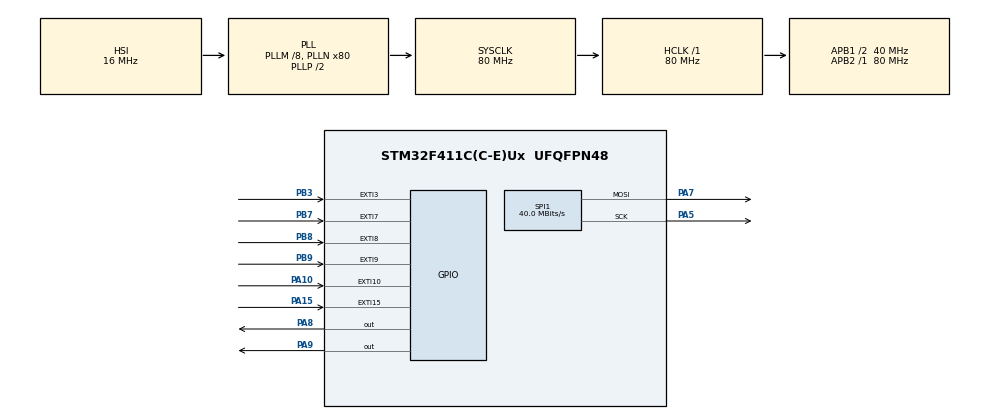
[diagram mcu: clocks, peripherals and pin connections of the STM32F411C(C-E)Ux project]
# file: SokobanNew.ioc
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Dma.Request0=SPI1_TX
Dma.SPI1_TX.0.Direction=DMA_MEMORY_TO_PERIPH
Dma.SPI1_TX.0.FIFOMode=DMA_FIFOMODE_DISABLE
Dma.SPI1_TX.0.Instance=DMA2_Stream3
Dma.SPI1_TX.0.MemDataAlignment=DMA_MDATAALIGN_BYTE
Dma.SPI1_TX.0.MemInc=DMA_MINC_ENABLE
Dma.SPI1_TX.0.Mode=DMA_NORMAL
Dma.SPI1_TX.0.PeriphDataAlignment=DMA_PDATAALIGN_BYTE
Dma.SPI1_TX.0.PeriphInc=DMA_PINC_DISABLE
Dma.SPI1_TX.0.Priority=DMA_PRIORITY_LOW
Mcu.Family=STM32F4
Mcu.Name=STM32F411C(C-E)Ux
Mcu.Package=UFQFPN48
NVIC.DMA2_Stream3_IRQn=true\:0\:0\:false\:false\:true\:false\:true\:true
NVIC.PriorityGroup=NVIC_PRIORITYGROUP_4
PA10.GPIO_ModeDefaultEXTI=GPIO_MODE_IT_FALLING
PA10.GPIO_PuPd=GPIO_PULLUP
PA10.Signal=GPXTI10
PA13.Mode=Serial_Wire
PA13.Signal=SYS_JTMS-SWDIO
PA14.Mode=Serial_Wire
PA14.Signal=SYS_JTCK-SWCLK
PA15.GPIO_ModeDefaultEXTI=GPIO_MODE_IT_FALLING
PA15.GPIO_PuPd=GPIO_PULLUP
PA15.Signal=GPXTI15
PA5.Mode=TX_Only_Simplex_Unidirect_Master
PA5.Signal=SPI1_SCK
PA7.Mode=TX_Only_Simplex_Unidirect_Master
PA7.Signal=SPI1_MOSI
PA8.GPIO_Speed=GPIO_SPEED_FREQ_HIGH
PA8.PinState=GPIO_PIN_SET
PA8.Signal=GPIO_Output
PA9.GPIO_Speed=GPIO_SPEED_FREQ_HIGH
PA9.Signal=GPIO_Output
PB3.GPIO_ModeDefaultEXTI=GPIO_MODE_IT_FALLING
PB3.GPIO_PuPd=GPIO_PULLUP
PB3.Signal=GPXTI3
PB7.GPIO_ModeDefaultEXTI=GPIO_MODE_IT_FALLING
PB7.GPIO_PuPd=GPIO_PULLUP
PB7.Signal=GPXTI7
PB8.GPIO_ModeDefaultEXTI=GPIO_MODE_IT_FALLING
PB8.GPIO_PuPd=GPIO_PULLUP
PB8.Signal=GPXTI8
PB9.GPIO_ModeDefaultEXTI=GPIO_MODE_IT_FALLING
PB9.GPIO_PuPd=GPIO_PULLUP
PB9.Signal=GPXTI9
ProjectManager.HeapSize=0x200
ProjectManager.StackSize=0x400
ProjectManager.TargetToolchain=STM32CubeIDE
RCC.48MHZClocksFreq_Value=40000000
RCC.AHBFreq_Value=80000000
RCC.APB1CLKDivider=RCC_HCLK_DIV2
RCC.APB1Freq_Value=40000000
RCC.APB1TimFreq_Value=80000000
RCC.APB2Freq_Value=80000000
RCC.APB2TimFreq_Value=80000000
RCC.CortexFreq_Value=80000000
RCC.HCLKFreq_Value=80000000
RCC.HSE_VALUE=25000000
RCC.HSI_VALUE=16000000
RCC.LSE_VALUE=32768
RCC.PLLM=8
RCC.PLLN=80
RCC.SYSCLKFreq_VALUE=80000000
RCC.SYSCLKSource=RCC_SYSCLKSOURCE_PLLCLK
RCC.VCOOutputFreq_Value=160000000
SPI1.BaudRatePrescaler=SPI_BAUDRATEPRESCALER_2
SPI1.CLKPhase=SPI_PHASE_2EDGE
SPI1.CLKPolarity=SPI_POLARITY_HIGH
SPI1.CalculateBaudRate=40.0 MBits/s
SPI1.Direction=SPI_DIRECTION_2LINES
SPI1.Mode=SPI_MODE_MASTER
SPI1.VirtualType=VM_MASTER
board=custom

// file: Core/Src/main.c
/* USER CODE BEGIN Header */
/**
  ******************************************************************************
  * @file           : main.c
  * @brief          : Main program body for the Sokoban game.
  *
  * Initialises all MCU peripherals (SPI1, DMA, GPIO), starts the ST7789 display
  * driver and the DWT cycle-counter timer, then runs the main game loop.
  * The loop dispatches input events (set by GPIO EXTI callbacks) and drives the
  * game state machine: Title → Playing → Level Won / Game Won → Title.
  ******************************************************************************
  * @attention
  *
  * Copyright (c) 2026 STMicroelectronics.
  * All rights reserved.
  *
  * This software is licensed under terms that can be found in the LICENSE file
  * in the root directory of this software component.
  * If no LICENSE file comes with this software, it is provided AS-IS.
  *
  ******************************************************************************
  */
/* USER CODE END Header */
#include "main.h"

/* USER CODE BEGIN Includes */

#include "st7789.h"

#include "levels.h"
#include "renderer.h"
#include "box.h"

/* USER CODE END Includes */

SPI_HandleTypeDef hspi1;
DMA_HandleTypeDef hdma_spi1_tx;

void SystemClock_Config(void);
static void MX_GPIO_Init(void);
static void MX_DMA_Init(void);
static void MX_SPI1_Init(void);

/* USER CODE BEGIN 0 */

/**
 * @brief Initialises the DWT cycle counter for microsecond timing.
 *
 * Enables the trace macrocell (TRCENA), resets the cycle count register, and
 * starts the cycle counter.  Must be called once before GetDeltaTime().
 */
void DWT_Init(void) {
    CoreDebug->DEMCR |= CoreDebug_DEMCR_TRCENA_Msk; /* Enable trace */
    DWT->CYCCNT = 0;
    DWT->CTRL |= DWT_CTRL_CYCCNTENA_Msk;            /* Start counter */
}

/**
 * @brief Returns the elapsed time in microseconds since the last call.
 *
 * Uses the DWT cycle counter to measure elapsed CPU cycles and converts them
 * to microseconds using @c SystemCoreClock.  Sub-microsecond cycles are
 * accumulated in a static remainder to avoid drift over time.
 *
 * @return Elapsed time in microseconds since the previous call, or 0 on the
 *         first call (used to prime the lastCycle baseline).
 */
uint32_t GetDeltaTime(void) {
    static uint32_t lastCycle = 0;
    static uint32_t remainder = 0;
    uint32_t now = DWT->CYCCNT;
    uint32_t elapsed = now - lastCycle;
    lastCycle = now;

    /* Convert cycles to microseconds, preserving the sub-µs remainder */
    uint32_t totalCycles = elapsed + remainder;
    uint32_t cyclesPerUs = SystemCoreClock / 1000000U;
    if (cyclesPerUs == 0) return 0;

    uint32_t us = totalCycles / cyclesPerUs;
    remainder = totalCycles - (us * cyclesPerUs);
    return us;
}

#include "player.h"
#include <stdbool.h>

/** @brief Pool of box entities shared across all levels. */
static Box    boxes[BOX_MAX];

/** @brief The player entity. */
static Player player;

/**
 * @brief Top-level game state machine states.
 */
typedef enum {
    STATE_TITLE,      /**< Title screen is displayed; waiting for the OK button. */
    STATE_PLAYING,    /**< A level is active and the player can move. */
    STATE_LEVEL_WON,  /**< Current level is complete; waiting to advance. */
    STATE_GAME_WON    /**< All levels finished; game-complete screen is shown. */
} GameState;

/** @brief Current state of the game state machine. */
static GameState gameState = STATE_TITLE;

/** @brief Zero-based index of the level currently loaded or to be loaded next. */
static uint8_t currentLevelIdx = 0;

/**
 * @brief Set to @c true by the OK-button EXTI callback to request a start/advance action.
 *
 * Consumed and cleared at the top of the main loop to avoid missed events.
 */
volatile bool requestStart = false;

/**
 * @brief Set to @c true by the Back-button EXTI callback to return to the title screen.
 *
 * Takes priority over @c requestStart when both are set simultaneously.
 */
volatile bool requestTitle = false;

/* USER CODE END 0 */

int main(void)
{

  /* MCU Configuration--------------------------------------------------------*/

  /* Reset of all peripherals, Initializes the Flash interface and the Systick. */
  HAL_Init();

  /* Configure the system clock */
  SystemClock_Config();

  /* Initialize all configured peripherals */
  MX_GPIO_Init();
  MX_DMA_Init();
  MX_SPI1_Init();
  /* USER CODE BEGIN 2 */

  DWT_Init();
  ST7789_Init();

  /* USER CODE END 2 */

  /* Infinite loop */
  /* USER CODE BEGIN WHILE */

  Renderer_DrawTitleScreen();
  gameState = STATE_TITLE;

  GetDeltaTime();
  static uint32_t acc_us = 0;
  static bool levelWon = false;

  while (1) {
    /* USER CODE END WHILE */
    uint32_t dt = GetDeltaTime();
    acc_us += dt;

    if (requestTitle) {
        requestTitle = false;
        requestStart = false; // prioritize title
        gameState = STATE_TITLE;
        Renderer_DrawTitleScreen();
    }

    if (requestStart) {
        requestStart = false;
        if (gameState == STATE_TITLE) {
            Level_Load(currentLevelIdx, &player, boxes, BOX_MAX);
            gameState = STATE_PLAYING;
            levelWon = false;
        } else if (gameState == STATE_LEVEL_WON) {
            currentLevelIdx++;
            Level_Load(currentLevelIdx, &player, boxes, BOX_MAX);
            gameState = STATE_PLAYING;
            levelWon = false;
        } else if (gameState == STATE_GAME_WON) {
            currentLevelIdx = 0;
            gameState = STATE_TITLE;
            Renderer_DrawTitleScreen();
            levelWon = false;
        }
    }

    if (gameState == STATE_PLAYING) {
        Player_Update(&player, dt);

        /* Update all boxes */
        for (uint8_t i = 0; i < BOX_MAX; i++)
            Box_Update(&boxes[i], dt);

        /* Check win condition */
        if (!levelWon && Level_IsComplete(boxes, BOX_MAX)) {
            levelWon = true;

            if (currentLevelIdx < Level_GetCount() - 1) {
                gameState = STATE_LEVEL_WON;
                Renderer_DrawLevelCompleteScreen();
            } else {
                gameState = STATE_GAME_WON;
                Renderer_DrawGameCompleteScreen();
            }
        } else if (levelWon && !Level_IsComplete(boxes, BOX_MAX)) {
            levelWon = false; // Reset if somehow un-won
        }

        /* --- Redraw --- */
        bool needRedraw = player.frameChanged || player.posChanged;
        for (uint8_t i = 0; i < BOX_MAX; i++)
            if (boxes[i].posChanged) needRedraw = true;

        if (needRedraw && !levelWon) {
            const LevelDesc* desc = Level_GetDesc(currentLevelIdx);
            if (desc) {
                if (player.state >= ANIM_WALK_DOWN && player.pushedBoxIdx >= 0) {
                    Renderer_DrawPushStrip(desc->tiles, &player,
                                           &boxes[player.pushedBoxIdx],
                                           boxes, BOX_MAX);
                } else {
                    Renderer_DrawPlayerStrip(desc->tiles, &player, boxes, BOX_MAX);

                    for (uint8_t i = 0; i < BOX_MAX; i++) {
                        if (boxes[i].posChanged)
                            Renderer_DrawBoxes(desc->tiles, &boxes[i], 1);
                    }
                }
            }
        }
    }
  }
}

void SystemClock_Config(void)
{
  RCC_OscInitTypeDef RCC_OscInitStruct = {0};
  RCC_ClkInitTypeDef RCC_ClkInitStruct = {0};

  /** Configure the main internal regulator output voltage
  */
  __HAL_RCC_PWR_CLK_ENABLE();
  __HAL_PWR_VOLTAGESCALING_CONFIG(PWR_REGULATOR_VOLTAGE_SCALE1);

  /** Initializes the RCC Oscillators according to the specified parameters
  * in the RCC_OscInitTypeDef structure.
  */
  RCC_OscInitStruct.OscillatorType = RCC_OSCILLATORTYPE_HSI;
  RCC_OscInitStruct.HSIState = RCC_HSI_ON;
  RCC_OscInitStruct.HSICalibrationValue = RCC_HSICALIBRATION_DEFAULT;
  RCC_OscInitStruct.PLL.PLLState = RCC_PLL_ON;
  RCC_OscInitStruct.PLL.PLLSource = RCC_PLLSOURCE_HSI;
  RCC_OscInitStruct.PLL.PLLM = 8;
  RCC_OscInitStruct.PLL.PLLN = 80;
  RCC_OscInitStruct.PLL.PLLP = RCC_PLLP_DIV2;
  RCC_OscInitStruct.PLL.PLLQ = 4;
  if (HAL_RCC_OscConfig(&RCC_OscInitStruct) != HAL_OK)
  {
    Error_Handler();
  }

  /** Initializes the CPU, AHB and APB buses clocks
  */
  RCC_ClkInitStruct.ClockType = RCC_CLOCKTYPE_HCLK|RCC_CLOCKTYPE_SYSCLK
                              |RCC_CLOCKTYPE_PCLK1|RCC_CLOCKTYPE_PCLK2;
  RCC_ClkInitStruct.SYSCLKSource = RCC_SYSCLKSOURCE_PLLCLK;
  RCC_ClkInitStruct.AHBCLKDivider = RCC_SYSCLK_DIV1;
  RCC_ClkInitStruct.APB1CLKDivider = RCC_HCLK_DIV2;
  RCC_ClkInitStruct.APB2CLKDivider = RCC_HCLK_DIV1;

  if (HAL_RCC_ClockConfig(&RCC_ClkInitStruct, FLASH_LATENCY_2) != HAL_OK)
  {
    Error_Handler();
  }
}

static void MX_SPI1_Init(void)
{

  /* SPI1 parameter configuration*/
  hspi1.Instance = SPI1;
  hspi1.Init.Mode = SPI_MODE_MASTER;
  hspi1.Init.Direction = SPI_DIRECTION_2LINES;
  hspi1.Init.DataSize = SPI_DATASIZE_8BIT;
  hspi1.Init.CLKPolarity = SPI_POLARITY_HIGH;
  hspi1.Init.CLKPhase = SPI_PHASE_2EDGE;
  hspi1.Init.NSS = SPI_NSS_SOFT;
  hspi1.Init.BaudRatePrescaler = SPI_BAUDRATEPRESCALER_2;
  hspi1.Init.FirstBit = SPI_FIRSTBIT_MSB;
  hspi1.Init.TIMode = SPI_TIMODE_DISABLE;
  hspi1.Init.CRCCalculation = SPI_CRCCALCULATION_DISABLE;
  hspi1.Init.CRCPolynomial = 10;
  if (HAL_SPI_Init(&hspi1) != HAL_OK)
  {
    Error_Handler();
  }

}

static void MX_DMA_Init(void)
{

  /* DMA controller clock enable */
  __HAL_RCC_DMA2_CLK_ENABLE();

  /* DMA interrupt init */
  /* DMA2_Stream3_IRQn interrupt configuration */
  HAL_NVIC_SetPriority(DMA2_Stream3_IRQn, 0, 0);
  HAL_NVIC_EnableIRQ(DMA2_Stream3_IRQn);

}

static void MX_GPIO_Init(void)
{
  GPIO_InitTypeDef GPIO_InitStruct = {0};

  /* GPIO Ports Clock Enable */
  __HAL_RCC_GPIOA_CLK_ENABLE();
  __HAL_RCC_GPIOB_CLK_ENABLE();

  /*Configure GPIO pin Output Level */
  HAL_GPIO_WritePin(GPIOA, GPIO_PIN_8, GPIO_PIN_SET);

  /*Configure GPIO pin Output Level */
  HAL_GPIO_WritePin(GPIOA, GPIO_PIN_9, GPIO_PIN_RESET);

  /*Configure GPIO pins : PA8 PA9 */
  GPIO_InitStruct.Pin = GPIO_PIN_8|GPIO_PIN_9;
  GPIO_InitStruct.Mode = GPIO_MODE_OUTPUT_PP;
  GPIO_InitStruct.Pull = GPIO_NOPULL;
  GPIO_InitStruct.Speed = GPIO_SPEED_FREQ_HIGH;
  HAL_GPIO_Init(GPIOA, &GPIO_InitStruct);

  /*Configure GPIO pins : PA10 PA15 */
  GPIO_InitStruct.Pin = GPIO_PIN_10|GPIO_PIN_15;
  GPIO_InitStruct.Mode = GPIO_MODE_IT_FALLING;
  GPIO_InitStruct.Pull = GPIO_PULLUP;
  HAL_GPIO_Init(GPIOA, &GPIO_InitStruct);

  /*Configure GPIO pins : PB3 PB7 PB8 PB9 */
  GPIO_InitStruct.Pin = GPIO_PIN_3|GPIO_PIN_7|GPIO_PIN_8|GPIO_PIN_9;
  GPIO_InitStruct.Mode = GPIO_MODE_IT_FALLING;
  GPIO_InitStruct.Pull = GPIO_PULLUP;
  HAL_GPIO_Init(GPIOB, &GPIO_InitStruct);

  /* USER CODE BEGIN MX_GPIO_Init_2 */
  HAL_NVIC_SetPriority(EXTI15_10_IRQn, 0, 0);
  HAL_NVIC_EnableIRQ(EXTI15_10_IRQn);
  HAL_NVIC_SetPriority(EXTI9_5_IRQn, 0, 0);
  HAL_NVIC_EnableIRQ(EXTI9_5_IRQn);
  HAL_NVIC_SetPriority(EXTI3_IRQn, 0, 0);
  HAL_NVIC_EnableIRQ(EXTI3_IRQn);
  /* USER CODE END MX_GPIO_Init_2 */
}

/* USER CODE BEGIN 4 */

/**
 * @brief GPIO EXTI interrupt callback — handles all button presses.
 *
 * Called by the HAL EXTI driver after any of the configured falling-edge
 * interrupts fires.  The button-to-pin mapping is:
 *
 * | Pin      | Button | Action                                  |
 * |----------|--------|-----------------------------------------|
 * | PB3      | Back   | Return to title from any in-game state  |
 * | PA10     | OK     | Start game / advance level / restart    |
 * | PA15     | Up     | Face up; then walk up on second press   |
 * | PB7      | Right  | Face right; then walk right             |
 * | PB8      | Down   | Face down; then walk down               |
 * | PB9      | Left   | Face left; then walk left               |
 *
 * Direction buttons use a two-press scheme: the first press rotates the
 * player's facing direction (idle state), and the second press (while already
 * facing that way) initiates movement.
 *
 * @param GPIO_Pin Bitmask of the pin that triggered the interrupt.
 */
void HAL_GPIO_EXTI_Callback(uint16_t GPIO_Pin) {
  if (GPIO_Pin == GPIO_PIN_3) { /* BACK */
      if (gameState == STATE_PLAYING || gameState == STATE_LEVEL_WON || gameState == STATE_GAME_WON) {
          requestTitle = true;
      }
  } else if (GPIO_Pin == GPIO_PIN_10) { /* OK */
      if (gameState == STATE_TITLE || gameState == STATE_LEVEL_WON || gameState == STATE_GAME_WON) {
          requestStart = true;
      }
  } else if (gameState == STATE_PLAYING) {
      if (GPIO_Pin == GPIO_PIN_15) {        /* UP */
          if (player.state <= ANIM_IDLE_LEFT && player.state != ANIM_IDLE_UP) {
              player.state = ANIM_IDLE_UP;
              player.frame = 0;
              player.frameChanged = true;
          } else if (player.state == ANIM_IDLE_UP) {
              const LevelDesc* desc = Level_GetDesc(currentLevelIdx);
              if (desc) Player_StartWalk(&player, ANIM_WALK_UP, desc->tiles, boxes, BOX_MAX);
          }
      } else if (GPIO_Pin == GPIO_PIN_7) {  /* RIGHT */
          if (player.state <= ANIM_IDLE_LEFT && player.state != ANIM_IDLE_RIGHT) {
              player.state = ANIM_IDLE_RIGHT;
              player.frame = 0;
              player.frameChanged = true;
          } else if (player.state == ANIM_IDLE_RIGHT) {
              const LevelDesc* desc = Level_GetDesc(currentLevelIdx);
              if (desc) Player_StartWalk(&player, ANIM_WALK_RIGHT, desc->tiles, boxes, BOX_MAX);
          }
      } else if (GPIO_Pin == GPIO_PIN_8) {  /* DOWN */
          if (player.state <= ANIM_IDLE_LEFT && player.state != ANIM_IDLE_DOWN) {
              player.state = ANIM_IDLE_DOWN;
              player.frame = 0;
              player.frameChanged = true;
          } else if (player.state == ANIM_IDLE_DOWN) {
              const LevelDesc* desc = Level_GetDesc(currentLevelIdx);
              if (desc) Player_StartWalk(&player, ANIM_WALK_DOWN, desc->tiles, boxes, BOX_MAX);
          }
      } else if (GPIO_Pin == GPIO_PIN_9) {  /* LEFT */
          if (player.state <= ANIM_IDLE_LEFT && player.state != ANIM_IDLE_LEFT) {
              player.state = ANIM_IDLE_LEFT;
              player.frame = 0;
              player.frameChanged = true;
          } else if (player.state == ANIM_IDLE_LEFT) {
              const LevelDesc* desc = Level_GetDesc(currentLevelIdx);
              if (desc) Player_StartWalk(&player, ANIM_WALK_LEFT, desc->tiles, boxes, BOX_MAX);
          }
      }
  }
}
/* USER CODE END 4 */

void Error_Handler(void)
{
  __disable_irq();
  while (1)
  {
  }
}
